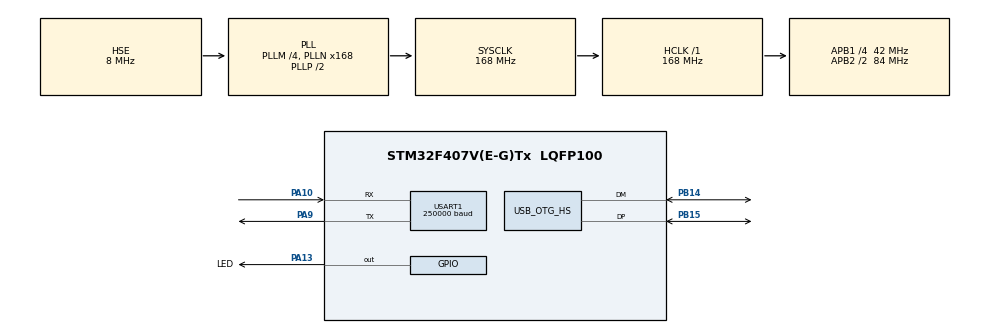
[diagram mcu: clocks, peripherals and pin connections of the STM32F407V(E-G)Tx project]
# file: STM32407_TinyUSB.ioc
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Mcu.Family=STM32F4
Mcu.Name=STM32F407V(E-G)Tx
Mcu.Package=LQFP100
NVIC.OTG_HS_IRQn=true\:0\:0\:false\:false\:true\:true\:true\:true
NVIC.PriorityGroup=NVIC_PRIORITYGROUP_0
PA10.Mode=Asynchronous
PA10.Signal=USART1_RX
PA13.GPIO_Label=LED
PA13.PinState=GPIO_PIN_RESET
PA13.Signal=GPIO_Output
PA9.Mode=Asynchronous
PA9.Signal=USART1_TX
PB14.Mode=Host_FS
PB14.Signal=USB_OTG_HS_DM
PB15.Mode=Host_FS
PB15.Signal=USB_OTG_HS_DP
PH0-OSC_IN.Mode=HSE-External-Oscillator
PH0-OSC_IN.Signal=RCC_OSC_IN
PH1-OSC_OUT.Mode=HSE-External-Oscillator
PH1-OSC_OUT.Signal=RCC_OSC_OUT
ProjectManager.HeapSize=0x200
ProjectManager.StackSize=0x400
ProjectManager.TargetToolchain=STM32CubeIDE
RCC.48MHZClocksFreq_Value=48000000
RCC.AHBFreq_Value=168000000
RCC.APB1CLKDivider=RCC_HCLK_DIV4
RCC.APB1Freq_Value=42000000
RCC.APB1TimFreq_Value=84000000
RCC.APB2CLKDivider=RCC_HCLK_DIV2
RCC.APB2Freq_Value=84000000
RCC.APB2TimFreq_Value=168000000
RCC.CortexFreq_Value=168000000
RCC.FLatency-AdvancedSettings=FLASH_LATENCY_5
RCC.HCLKFreq_Value=168000000
RCC.HSE_VALUE=8000000
RCC.HSI_VALUE=16000000
RCC.LSE_VALUE=32768
RCC.PLLM=4
RCC.PLLN=168
RCC.PLLQ=7
RCC.RCC_RTC_Clock_Source_FROM_HSE=RCC_RTCCLKSOURCE_HSE_DIV8
RCC.SYSCLKFreq_VALUE=168000000
RCC.SYSCLKSource=RCC_SYSCLKSOURCE_PLLCLK
RCC.USBFreq_Value=48000000
RCC.VCOOutputFreq_Value=336000000
USART1.BaudRate=250000
USART1.VirtualMode=VM_ASYNC
USB_OTG_HS.VirtualMode-Host_FS=Host_FS
USB_OTG_HS.dma_enable-Host_FS=ENABLE
VP_RTC_VS_RTC_Activate.Mode=RTC_Enabled
board=custom

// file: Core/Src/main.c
/* USER CODE BEGIN Header */
/**
  ******************************************************************************
  * @file           : main.c
  * @brief          : Main program body
  ******************************************************************************
  * @attention
  *
  * Copyright (c) 2026 STMicroelectronics.
  * All rights reserved.
  *
  * This software is licensed under terms that can be found in the LICENSE file
  * in the root directory of this software component.
  * If no LICENSE file comes with this software, it is provided AS-IS.
  *
  ******************************************************************************
  */

/***********************************************************************************************
* IRON 2026 smart USB bootloader for MKS Monster8 V1/V2 3D printer motherboard (STM32F407VET6) *
***********************************************************************************************/

/* USER CODE END Header */
#include "main.h"

/* USER CODE BEGIN Includes */

#include <stdarg.h>      // For uart_printf
#include <string.h>      // For memset
#include "tusb.h"        // TinyUSB
#include "ff.h"          // FAT File System
#include "diskio.h"      // FAT File System IO driver

/* USER CODE END Includes */

/* USER CODE BEGIN PD */

#define DEBUG_USART_HANDLE       huart1                               // The UART to send debug info to
#define VERBOSE_MODE                                                  // Comment out to disable sending info to USART (250K baud)
#define COMPARE_BEFORE_FLASH                                          // Comment out to not compare (faster)
#define FIRMWARE_FILENAME        "firmware.bin"                       // The firmware file to flash
#define FIRMWARE_RENAME          "firmware.cur"                       // Rename the firmware after flashing

// Make sure pins don't interfere with SWD debug pins PA13 and PA14, disable when debugging
#define PROGRESS_LED_PIN         GPIO_PIN_13                          // Progress LED pin
#define PROGRESS_LED_PORT        GPIOA                                // Progress LED flashes during flash update

#define DFU_ON_DOUBLE_RESET                                           // Double reset start DFU mode, uncomment to disable
#define DFU_MAGIC_KEY            0xBA55BA11                           // Magic key to jump to DFU mode
#define DFU_MAGIC_KEY_ADDRESS    RTC_BKP_DR19                         // Store the magic key at RTC backup register 19

#define FLASHWORD                4U                                   // 4 bytes on STM32F4
#define FILE_BUFFER_SIZE         4096UL                               // Must be divisible by FLASHWORD
#define FLASH_MAX_SECTOR         12U                                  // Max 12 sectors on STM32F4xx (0-11)
#define FLASH_BOOTLOADER_SIZE    0x0010000UL                          // Bootloader area size
#define FLASH_USER_START_SECTOR  4U                                   // Bootloader in sector 0-3 (4 x 16KB)
#define FLASH_USER_START_ADDR    (FLASH_BASE + FLASH_BOOTLOADER_SIZE) // Should start on a new sector

/* STM32 DFU bootloader addresses
   STM32C0   0x1FFF0000 | STM32F030x8 0x1FFFEC00 | STM32F030xC 0x1FFFD800 | STM32F03xx 0x1FFFEC00
   STM32F05  0x1FFFEC00 | STM32F07    0x1FFFC800 | STM32F09    0x1FFFD800 | STM32F10xx 0x1FFFF000
   STM32F105 0x1FFFB000 | STM32F107   0x1FFFB000 | STM32F10XL  0x1FFFE000 | STM32F2    0x1FFF0000
   STM32F3   0x1FFFD800 | STM32F4     0x1FFF0000 | STM32F7     0x1FF00000 | STM32G0    0x1FFF0000
   STM32G4   0x1FFF0000 | STM32H503   0x0BF87000 | STM32H563   0x0BF97000 | STM32H573  0x0BF97000
   STM32H7x  0x1FF09800 | STM32H7A    0x1FF0A800 | STM32H7B    0x1FF0A000 | STM32L0    0x1FF00000
   STM32L1   0x1FF00000 | STM32L4     0x1FFF0000 | STM32L5     0x0BF90000 | STM32WBA   0x0BF88000
   STM32WBX  0x1FFF0000 | STM32WL     0x1FFF0000 | STM32U5     0x0BF90000 */

#define DFU_BOOTLOADER_ADDRESS   0x1FFF0000U // STMF4xx address to jump to to activate DFU bootloader

/* ERROR CODES (FatFS errors 0-19)
 0 Succeeded
 1 A hard error occurred in the low level disk I/O layer
 2 Assertion failed
 3 The physical drive cannot work
 4 Could not find the file
 5 Could not find the path
 6 The path name format is invalid
 7 Access denied due to prohibited access or directory full
 8 Access denied due to prohibited access
 9 The file/directory object is invalid
10 The physical drive is write protected
11 The logical drive number is invalid
12 The volume has no work area
13 There is no valid FAT volume
14 The f_mkfs() aborted due to any problem
15 Could not get a grant to access the volume within defined period
16 The operation is rejected according to the file sharing policy
17 LFN working buffer could not be allocated
18 Number of open files > _FS_LOCK
19 Given parameter is invalid */

/* USER CODE END PD */

RTC_HandleTypeDef hrtc;

UART_HandleTypeDef huart1;

HCD_HandleTypeDef hhcd_USB_OTG_HS;

/* USER CODE BEGIN PV */

FATFS    FatFs;                        // FAT File System handle
FIL      fwFile;                       // File handle for the firmware file
FRESULT  result;                       // File operation result
uint32_t fileSize;                        // User application size in bytes
uint8_t  fileBuffer[FILE_BUFFER_SIZE]; // File read buffer
volatile bool USB_status = false;      // Check if USB disk is available
volatile bool _disk_busy = false;

// TinyUSB API implementation
uint32_t tusb_time_millis_api(void) {
  return HAL_GetTick();
}

// Calculate CRC32 of a block of data, actual CRC32 is the inverse of the returned value
#define CRC32_START 0xFFFFFFFF
uint32_t crc32b(uint32_t crc, uint8_t *data, uint32_t size)
{
    for (int i = 0; i < size; i++)
    {
        crc = crc ^ data[i];
        for (int j = 8; j; j--)
            crc = (crc >> 1) ^ (0xEDB88320 & -(crc & 1));
    }
    return ~crc;
}

#ifdef VERBOSE_MODE // No serial output if not in VERBOSE_MODE

// Super lightweight printf, prints to uart (DEBUG_USART_HANDLE), no floats
// Takes only about 700 bytes of program memory, printf takes 2.5K of flash space
void uart_printf(const char * fmt, ...)
{
    va_list va;
    va_start(va, fmt);
    char debug_msg[255]; // Message buffer
    char * buf = debug_msg;
    char c;
    unsigned int num;
    while ((c  = *(fmt++)))
    {
        if (c == '%')
        {
            int width = 0;
            int base = 2;
            int s_int = 0;
            char space_zero = ' ';
        MORE_FORMAT:
            c = *(fmt++); // Skip '%', check parameter
            switch (c)
            {
                case '0':
                    if (width == 0)
                        space_zero = '0';
                case '1'...'9': // Width indicators
                    width = (width * 10) + c - '0';
                goto MORE_FORMAT;

                case '%': // "%%" prints "%"
                    *(buf++) = '%';
                break;

                case 'c': // Character
                    *(buf++) = va_arg(va, int);
                break;

                case 'd': // Signed integer
                case 'i': base = 10;
                    s_int = va_arg(va, int);
                    if (s_int < 0)
                       num = -s_int;
                    else
                      num = s_int;
                  goto ATOI;
                case 'x':      // Hexadecimal, base 16
                    base += 6; // 2 + 6 + 8 is base 16
                case 'u':      // Unsigned integer, base 10
                    base += 8; // 2 + 8 is base 10
                case 'b':      // Binary, base 2
                    num = va_arg(va, unsigned int);
                  ATOI:
                    char tmp[32]; // 32bit
                    char *q = tmp;

                    do {
                        int rem = '0' + (num % base);
                        if (rem > '9')
                          rem += 7; // Map to 'ABCDEF'
                        *(q++) = rem;
                    } while ((num /= base));

                    if (s_int < 0)
                      *(q++) = '-';

                    width -= q - tmp;
                    while (width-- > 0)
                      *(buf++) = space_zero;

                   while (tmp < q) // Reverse data order, "123" --> "321"
                       *(buf++) = *(--q);
                break;

                case 's':  // String
                    const char *p = va_arg(va, const char *);
                    while (*p)
                        *(buf++) = *(p++);
            }
        }
        else
            *(buf++) = c; // Copy literal characters
    }
    *buf = '\0'; // Terminate string

    va_end(va);

    HAL_UART_Transmit(&DEBUG_USART_HANDLE, (uint8_t *)debug_msg, buf - debug_msg, HAL_MAX_DELAY);
    #ifdef PROGRESS_LED_PIN
        HAL_GPIO_TogglePin(PROGRESS_LED_PORT, PROGRESS_LED_PIN); // Flash LED
    #endif
}

#else

    #ifdef PROGRESS_LED_PIN
        void uart_printf(const char * fmt, ...) { HAL_GPIO_TogglePin(PROGRESS_LED_PORT, PROGRESS_LED_PIN); } // Flash LED
    #else
        void uart_printf(const char * fmt, ...) { }
    #endif

#endif

#ifdef DFU_ON_DOUBLE_RESET

    #if (DFU_MAGIC_KEY_ADDRESS < 0xFF)
          // Use RTC backup register
        void set_magic_key(int value) {
            HAL_PWR_EnableBkUpAccess();
            HAL_RTCEx_BKUPWrite(&hrtc, DFU_MAGIC_KEY_ADDRESS, value);
            HAL_PWR_DisableBkUpAccess();
        }
    #else
        // Use memory address
        #define set_magic_key(a) (*(__IO uint32_t *)DFU_MAGIC_KEY_ADDRESS = a)
    #endif

#else // No DFU on double reset

    #define set_magic_key(a)

#endif

// Return value: 0=equal, 1=different, 2=error
uint32_t compareFlashToFile(void)
{
    uint32_t i = 0, j;
    int result = f_lseek(&fwFile, 0); // Not strictly needed
    uint32_t file_crc32 = ~CRC32_START; // Invert here, will be undone in crc32b
    int difference_found = 0;
    int different = 0;
    unsigned int bytesRead;

    while ((i < fileSize) && !result)
    {
        result = f_read(&fwFile, fileBuffer, FILE_BUFFER_SIZE, &bytesRead);
        file_crc32 = crc32b(~file_crc32, fileBuffer, bytesRead);
        j = 0;
        while ((j < bytesRead) && !result)
        {
            if (*(__IO char*)(FLASH_USER_START_ADDR + i + j) != fileBuffer[j])
                difference_found = 1;
            j++;
        }
        if (difference_found)
        {
            uart_printf("*");
            different = 1;
            difference_found = 0; // Reset block different status
        }
        else
            uart_printf("=");

        i += bytesRead;
    }

    if (result)
    {
        uart_printf(" Error\r\nFile read error: %u\r\n", result);
        return 2;
    }
    else
    if (different)
        uart_printf(" Different\r\nFlash contents differs, update is required\r\n");
    else
    {
        uart_printf(" Equal\r\nFlash contents is the same, update is not required\r\n");
        uart_printf("Flash CRC32: 0x%x\r\n", file_crc32);
    }

    return different; // 0=equal, 1=different, 2=error
}

int CopyFileToFlashMemory(void)
{
/* STM32F4xx FLASH SECTORS
    Sector  0 0x0800 0000 - 0x0800 3FFF  16KB
    Sector  1 0x0800 4000 - 0x0800 7FFF  16KB
    Sector  2 0x0800 8000 - 0x0800 BFFF  16KB
    Sector  3 0x0800 C000 - 0x0800 FFFF  16KB
    Sector  4 0x0801 0000 - 0x0801 FFFF  64KB
    Sector  5 0x0802 0000 - 0x0803 FFFF 128KB
    Sector  6 0x0804 0000 - 0x0805 FFFF 128KB
    Sector  7 0x0804 0000 - 0x0807 FFFF 128KB
    // -- 512KB -----------------------------
    Sector  8 0x0804 0000 - 0x0809 FFFF 128KB
    Sector  9 0x0804 0000 - 0x080B FFFF 128KB
    Sector 10 0x0804 0000 - 0x080D FFFF 128KB
    Sector 11 0x080E 0000 - 0x080F FFFF 128KB */

    uint32_t flash_sector_size = 0x10000U;

    // Erase required sectors to fit the user application
    uint32_t erasedSize = 0;
    uint32_t sector = FLASH_USER_START_SECTOR;

    HAL_FLASH_Unlock();
    FRESULT result = f_lseek(&fwFile, 0);

    while ((erasedSize < fileSize) && !result)
    {
        uart_printf("Erasing flash sector %u  Sector size: %3uKB\r\n", sector, flash_sector_size >> 10);
        FLASH_Erase_Sector(sector, FLASH_VOLTAGE_RANGE_3);

        erasedSize += flash_sector_size;
        flash_sector_size = 0x20000; // The remaining sectors are 128KB
        sector++;
    }

    uart_printf("Flashing user application to 0x0%x\r\n", FLASH_USER_START_ADDR);
    uint32_t byteCounter = 0;
    uint32_t i;
    uint32_t file_crc32 = ~CRC32_START; // Invert here, will be undone in crc32b
    unsigned int bytesRead;

    while ((byteCounter < fileSize) && !result)
    {
        result = f_read(&fwFile, fileBuffer, FILE_BUFFER_SIZE, &bytesRead);
        file_crc32 = crc32b(~file_crc32, fileBuffer, bytesRead);

        if (bytesRead < FILE_BUFFER_SIZE) // Add some "erased flash" bytes to the buffer
            memset(fileBuffer + bytesRead, 0xFF, (FILE_BUFFER_SIZE - bytesRead) % FLASHWORD);

        // Write the data to flash memory
        i = 0;
        while ((i < bytesRead) && !result)
        {
            result = HAL_FLASH_Program(FLASH_TYPEPROGRAM_WORD, FLASH_USER_START_ADDR + byteCounter + i, *((volatile uint32_t*)(fileBuffer + i)));
            i += FLASHWORD;
        }
        byteCounter += bytesRead;
        uart_printf("=");
    }

    HAL_FLASH_Lock();

    if (!result) // All went OK, verify flash contents
    {
        uint32_t flash_crc32 = crc32b(CRC32_START, (uint8_t*)FLASH_USER_START_ADDR, fileSize);
        if (file_crc32 != flash_crc32)
        {
            uart_printf("* Verify failed\r\n");
            result = 1; // Signal error
        }
        else
            uart_printf(" Verify OK\r\n");

        uart_printf("Flash CRC32: 0x%x\r\n", flash_crc32);
    }
    else
        uart_printf(" Failed: %u\r\n", result);

    return result;
}

/* USER CODE END PV */

void SystemClock_Config(void);
static void MX_GPIO_Init(void);
static void MX_USART1_UART_Init(void);
static void MX_USB_OTG_HS_HCD_Init(void);
static void MX_RTC_Init(void);

/* USER CODE BEGIN 0 */

//--- TINY USB IMPLEMENTATION -------------//

bool inquiry_complete_cb(uint8_t dev_addr, tuh_msc_complete_data_t const * cb_data)
{
  msc_csw_t const* csw = cb_data->csw;

  if (csw->status != 0)
  {
    uart_printf("Inquiry failed\r\n");
    return false;
  }
  return true;
}

void tuh_msc_mount_cb(uint8_t dev_addr)
{
    USB_status = true; // Flag to main while loop to try to mount disk
}

void tuh_msc_umount_cb(uint8_t dev_addr)
{
}

//-------------------------------------+
// FatFS DiskIO driver
//-------------------------------------+
static void wait_for_disk_io(BYTE pdrv)
{
  while(_disk_busy)
    tuh_task();
}

static bool disk_io_complete(uint8_t dev_addr, tuh_msc_complete_data_t const * cb_data)
{
  (void) dev_addr; (void) cb_data;
  _disk_busy = false;
  return true;
}

DSTATUS disk_status(BYTE pdrv) // Physical drive number to identify the drive, should be 0
{
  uint8_t dev_addr = pdrv + 1;
  return tuh_msc_mounted(dev_addr) ? 0 : STA_NODISK;
}

DSTATUS disk_initialize(BYTE pdrv) // Physical drive number to identify the drive
{
  (void) pdrv;
  return 0; // nothing to do
}

DRESULT disk_read(
    BYTE pdrv,        // Physical drive number to identify the drive
    BYTE *buff,        // Data buffer to store read data
    LBA_t sector,    // Start sector in LBA
    UINT count)        // Number of sectors to read
{
    uint8_t const dev_addr = pdrv + 1;
    uint8_t const lun = 0;

    _disk_busy = true;
    tuh_msc_read10(dev_addr, lun, buff, sector, (uint16_t) count, disk_io_complete, 0);
    wait_for_disk_io(pdrv);

    return RES_OK;
}

#if FF_FS_READONLY == 0

DRESULT disk_write(
    BYTE pdrv,           // Physical drive number to identify the drive
    const BYTE *buff,  // Data to be written
    LBA_t sector,       // Start sector in LBA
    UINT count)           // Number of sectors to write
{
    uint8_t const dev_addr = pdrv + 1;
    uint8_t const lun = 0;

    _disk_busy = true;
    tuh_msc_write10(dev_addr, lun, buff, sector, (uint16_t) count, disk_io_complete, 0);
    wait_for_disk_io(pdrv);

    return RES_OK;
}

#endif

DRESULT disk_ioctl(
    BYTE pdrv,        // Physical drive number (0..)
    BYTE cmd,        // Control code
    void *buff)        // Buffer to send/receive control data
{
  uint8_t const dev_addr = pdrv + 1;
  uint8_t const lun = 0;
  switch ( cmd )
  {
    case CTRL_SYNC:
      // nothing to do since we do blocking
      return RES_OK;

    case GET_SECTOR_COUNT:
      *((DWORD*) buff) = (WORD) tuh_msc_get_block_count(dev_addr, lun);
      return RES_OK;

    case GET_SECTOR_SIZE:
      *((WORD*) buff) = (WORD) tuh_msc_get_block_size(dev_addr, lun);
      return RES_OK;

    case GET_BLOCK_SIZE:
      *((DWORD*) buff) = 1; // erase block size in units of sector size
      return RES_OK;

    default:
      return RES_PARERR;
  }

    return RES_OK;
}

/* USER CODE END 0 */

int main(void)
{

  /* MCU Configuration--------------------------------------------------------*/

  /* Reset of all peripherals, Initializes the Flash interface and the Systick. */
  HAL_Init();

  /* Configure the system clock */
  SystemClock_Config();

  /* Initialize all configured peripherals */
  MX_GPIO_Init();
  MX_USART1_UART_Init();
  MX_USB_OTG_HS_HCD_Init();
  MX_RTC_Init();
  /* USER CODE BEGIN 2 */

  // Enable all the GPIO clocks for the configurable pin below
  SET_BIT(RCC->AHB1ENR, RCC_AHB1ENR_GPIOAEN | RCC_AHB1ENR_GPIOBEN | RCC_AHB1ENR_GPIOCEN | RCC_AHB1ENR_GPIODEN | RCC_AHB1ENR_GPIOEEN);

  // Disable VBUS sensing for Full-Speed Device (TYPE-C Connector, Pin A11/12
  // USB_OTG_FS->GCCFG &= ~USB_OTG_GCCFG_VBUSASEN;   // VBUS SENSING DEVICE A (default)
  // USB_OTG_FS->GCCFG &= ~USB_OTG_GCCFG_VBUSBSEN;   // VBUS SENSING DEVICE B (default)
  // USB_OTG_FS->GCCFG |=  USB_OTG_GCCFG_NOVBUSSENS; // VBUS sensing disabled

  // Disable VBUS sensing for High-Speed Device (TYPE-A Connector, Pin B14/15
  // USB_OTG_HS->GCCFG &= ~USB_OTG_GCCFG_VBUSASEN; // VBUS SENSING DEVICE A (default)
  // USB_OTG_HS->GCCFG &= ~USB_OTG_GCCFG_VBUSBSEN; // VBUS SENSING DEVICE B (default)
  USB_OTG_HS->GCCFG |=  USB_OTG_GCCFG_NOVBUSSENS;  // VBUS sensing disabled

  tusb_rhport_init_t dev_init = { .role = TUSB_ROLE_HOST, .speed = TUSB_SPEED_AUTO };
  tusb_init(BOARD_TUH_RHPORT, &dev_init); // 1 = TYPE-A / 0 - TYPE-C CONNECTOR

#ifdef DFU_ON_DOUBLE_RESET

#if (DFU_MAGIC_KEY_ADDRESS < 0xFF)
    if (HAL_RTCEx_BKUPRead(&hrtc, DFU_MAGIC_KEY_ADDRESS) == DFU_MAGIC_KEY) // Detect memory marker
#else
    if (*(__IO uint32_t*)DFU_MAGIC_KEY_ADDRESS == DFU_MAGIC_KEY) // Detect marker in RTC backup register
#endif
    {
        set_magic_key(0);
        MX_GPIO_Init();
        MX_USART1_UART_Init();
        uart_printf("\r\nStarting DFU mode\r\n");
        HAL_Delay(25);

        __disable_irq(); // Disable all interrupts
        HAL_SuspendTick(); // Suspend tick interrupt
        SysTick->CTRL = SysTick->LOAD = SysTick->VAL = 0;
        RCC->CIR = 0;     // Disable clock interrupts
        HAL_RCC_DeInit(); // Set the clock to the default state
        HAL_DeInit();
        // Clear Interrupt Enable Register & Interrupt Pending Register
        uint8_t cnt = (sizeof(NVIC->ICER) / sizeof(*NVIC->ICER));
        for (int i = 0; i < cnt; i++) {
            NVIC->ICER[i] = 0xFFFFFFFF;
            NVIC->ICPR[i] = 0xFFFFFFFF;
        }
        __enable_irq();

        uint32_t *vtor = (void*)DFU_BOOTLOADER_ADDRESS;
        SCB->VTOR = (uint32_t)vtor;

        // Make the jump
        asm volatile("MSR msp,%0\nbx %1" : : "r"(vtor[0]), "r"(vtor[1]));
    }

    set_magic_key(DFU_MAGIC_KEY);

    // Wait for 2nd reset while DFU marker is set
    HAL_Delay(500);

    set_magic_key(0);

#endif

  /* USER CODE END 2 */

  /* Infinite loop */
  /* USER CODE BEGIN WHILE */

  uart_printf("\r\nUSB bootloader started\r\n");

  #ifdef PROGRESS_LED_PIN
      GPIO_InitTypeDef GPIO_InitStruct = { 0 };
      GPIO_InitStruct.Pin = PROGRESS_LED_PIN;
      GPIO_InitStruct.Mode = GPIO_MODE_OUTPUT_PP;
      GPIO_InitStruct.Pull = GPIO_NOPULL;
      GPIO_InitStruct.Speed = GPIO_SPEED_FREQ_LOW;
      HAL_GPIO_Init(PROGRESS_LED_PORT, &GPIO_InitStruct);
  #endif

  while (1)
  {
    /* USER CODE END WHILE */

    /* USER CODE BEGIN 3 */

    tuh_task(); // TINYUSB TASK

    // Timeout counter
    if (HAL_GetTick() > 2500) // Requires about 1200-2200ms
        goto USER_APP;

    if (USB_status) // Wait for flag
    {
        // Mount the FAT file system
        result = f_mount(&FatFs, "", 1);
        if (result)
        {
            if (result == 3)
                uart_printf("No medium mounted, status: 3\r\n");
            else
                uart_printf("ERROR: USB mounting failed, not FAT/exFAT formatted? Error: %u\r\n", result);

            goto USER_APP;
        }

        uart_printf("TIME: %u\r\n", HAL_GetTick());

        uart_printf(FIRMWARE_FILENAME);
        if (f_open(&fwFile, FIRMWARE_FILENAME, FA_READ))
        {
            uart_printf(" not found\r\n");
            goto USER_APP;
        }
        uart_printf(" opened successfully\r\n");

        fileSize = f_size(&fwFile);

        // Get device flash size from memory (in KBytes)
        __IO uint16_t flashSize = *(uint32_t*)(FLASHSIZE_BASE);
        uart_printf("Total flash memory size: %uKB\r\n", flashSize);

        uint32_t freeFlash = (flashSize << 10) - FLASH_BOOTLOADER_SIZE;
        uart_printf("Free flash memory space: %uKB\r\n", freeFlash >> 10);

        uart_printf("Firmware update size: %uKB\r\n", fileSize >> 10);

        if (fileSize > freeFlash)
        {
            uart_printf("ERROR: Insufficient free flash memory space, aborting\r\n");
            f_close(&fwFile); // Not strictly needed, comment out to save some flash space
            goto USER_APP;
        }

        #ifdef COMPARE_BEFORE_FLASH

        uart_printf("Comparing file to flash memory contents\r\n");

            result = compareFlashToFile();
            if (result > 1) // File read error
                goto USER_APP;

            if (result == 1) // Flash is different, update required
                result = CopyFileToFlashMemory();

        #else

            result = CopyFileToFlashMemory();

        #endif

        f_close(&fwFile); // Must close file before renaming

        #ifdef FIRMWARE_RENAME
            if (!result) // Only rename/delete if file was flashed successfully
            {
                f_unlink(FIRMWARE_RENAME); // Delete the old firmware (if present)

                if (f_rename(FIRMWARE_FILENAME, FIRMWARE_RENAME) != FR_OK)
                {
                    uart_printf("ERROR: Failed to rename firmware file to ");
                    result = 1; // Signal error
                }
                else
                    uart_printf("Renaming file to ");

                uart_printf(FIRMWARE_RENAME "\r\n");
            }

        #endif

USER_APP:

        set_magic_key(0); // IMPORTANT, KEEP HERE

        f_unmount(""); // Unmount USB, not strictly needed, comment out to save some flash space

        if (*(__IO uint32_t*)FLASH_USER_START_ADDR != 0xFFFFFFFF) // Check if flash is empty
        {
            uart_printf("Starting user application at 0x0%x\r\n", FLASH_USER_START_ADDR);
            HAL_Delay(25);

            __disable_irq(); // Disable all interrupts
            HAL_SuspendTick(); // Suspend tick interrupt
            SysTick->CTRL = SysTick->LOAD = SysTick->VAL = 0;
            RCC->CIR = 0;     // Disable clock interrupts
            HAL_RCC_DeInit(); // Set the clock to the default state
            HAL_DeInit();
            // Clear Interrupt Enable Register & Interrupt Pending Register
            uint8_t cnt = (sizeof(NVIC->ICER) / sizeof(*NVIC->ICER));
            for (int i = 0; i < cnt; i++) {
                NVIC->ICER[i] = 0xFFFFFFFF;
                NVIC->ICPR[i] = 0xFFFFFFFF;
            }
            __enable_irq();

            uint32_t *vtor = (void*)FLASH_USER_START_ADDR;
            SCB->VTOR = (uint32_t)vtor;

            // Make the jump
            asm volatile("MSR msp,%0\nbx %1" : : "r"(vtor[0]), "r"(vtor[1]));
        }

        uart_printf("No user application found at 0x0%x, done!\r\n", FLASH_USER_START_ADDR);

        while (1)
        { // Start slow LED flash
            #ifdef PROGRESS_LED_PIN
                HAL_GPIO_TogglePin(PROGRESS_LED_PORT, PROGRESS_LED_PIN);
                HAL_Delay(1500);
            #endif
        };
    }

  }

  /* USER CODE END 3 */
}

void SystemClock_Config(void)
{
  RCC_OscInitTypeDef RCC_OscInitStruct = {0};
  RCC_ClkInitTypeDef RCC_ClkInitStruct = {0};

  /** Configure the main internal regulator output voltage
  */
  __HAL_RCC_PWR_CLK_ENABLE();
  __HAL_PWR_VOLTAGESCALING_CONFIG(PWR_REGULATOR_VOLTAGE_SCALE1);

  /** Initializes the RCC Oscillators according to the specified parameters
  * in the RCC_OscInitTypeDef structure.
  */
  RCC_OscInitStruct.OscillatorType = RCC_OSCILLATORTYPE_LSI|RCC_OSCILLATORTYPE_HSE;
  RCC_OscInitStruct.HSEState = RCC_HSE_ON;
  RCC_OscInitStruct.LSIState = RCC_LSI_ON;
  RCC_OscInitStruct.PLL.PLLState = RCC_PLL_ON;
  RCC_OscInitStruct.PLL.PLLSource = RCC_PLLSOURCE_HSE;
  RCC_OscInitStruct.PLL.PLLM = 4;
  RCC_OscInitStruct.PLL.PLLN = 168;
  RCC_OscInitStruct.PLL.PLLP = RCC_PLLP_DIV2;
  RCC_OscInitStruct.PLL.PLLQ = 7;
  if (HAL_RCC_OscConfig(&RCC_OscInitStruct) != HAL_OK)
  {
    Error_Handler();
  }

  /** Initializes the CPU, AHB and APB buses clocks
  */
  RCC_ClkInitStruct.ClockType = RCC_CLOCKTYPE_HCLK|RCC_CLOCKTYPE_SYSCLK
                              |RCC_CLOCKTYPE_PCLK1|RCC_CLOCKTYPE_PCLK2;
  RCC_ClkInitStruct.SYSCLKSource = RCC_SYSCLKSOURCE_PLLCLK;
  RCC_ClkInitStruct.AHBCLKDivider = RCC_SYSCLK_DIV1;
  RCC_ClkInitStruct.APB1CLKDivider = RCC_HCLK_DIV4;
  RCC_ClkInitStruct.APB2CLKDivider = RCC_HCLK_DIV2;

  if (HAL_RCC_ClockConfig(&RCC_ClkInitStruct, FLASH_LATENCY_5) != HAL_OK)
  {
    Error_Handler();
  }
}

static void MX_RTC_Init(void)
{

  /** Initialize RTC Only
  */
  hrtc.Instance = RTC;
  hrtc.Init.HourFormat = RTC_HOURFORMAT_24;
  hrtc.Init.AsynchPrediv = 127;
  hrtc.Init.SynchPrediv = 255;
  hrtc.Init.OutPut = RTC_OUTPUT_DISABLE;
  hrtc.Init.OutPutPolarity = RTC_OUTPUT_POLARITY_HIGH;
  hrtc.Init.OutPutType = RTC_OUTPUT_TYPE_OPENDRAIN;
  if (HAL_RTC_Init(&hrtc) != HAL_OK)
  {
    Error_Handler();
  }

}

static void MX_USART1_UART_Init(void)
{

  huart1.Instance = USART1;
  huart1.Init.BaudRate = 250000;
  huart1.Init.WordLength = UART_WORDLENGTH_8B;
  huart1.Init.StopBits = UART_STOPBITS_1;
  huart1.Init.Parity = UART_PARITY_NONE;
  huart1.Init.Mode = UART_MODE_TX_RX;
  huart1.Init.HwFlowCtl = UART_HWCONTROL_NONE;
  huart1.Init.OverSampling = UART_OVERSAMPLING_16;
  if (HAL_UART_Init(&huart1) != HAL_OK)
  {
    Error_Handler();
  }

}

static void MX_USB_OTG_HS_HCD_Init(void)
{

  hhcd_USB_OTG_HS.Instance = USB_OTG_HS;
  hhcd_USB_OTG_HS.Init.Host_channels = 12;
  hhcd_USB_OTG_HS.Init.speed = HCD_SPEED_FULL;
  hhcd_USB_OTG_HS.Init.dma_enable = ENABLE;
  hhcd_USB_OTG_HS.Init.phy_itface = USB_OTG_EMBEDDED_PHY;
  hhcd_USB_OTG_HS.Init.Sof_enable = DISABLE;
  hhcd_USB_OTG_HS.Init.low_power_enable = DISABLE;
  hhcd_USB_OTG_HS.Init.vbus_sensing_enable = DISABLE;
  hhcd_USB_OTG_HS.Init.use_external_vbus = DISABLE;
  if (HAL_HCD_Init(&hhcd_USB_OTG_HS) != HAL_OK)
  {
    Error_Handler();
  }

}

static void MX_GPIO_Init(void)
{
  GPIO_InitTypeDef GPIO_InitStruct = {0};

  /* GPIO Ports Clock Enable */
  __HAL_RCC_GPIOH_CLK_ENABLE();
  __HAL_RCC_GPIOB_CLK_ENABLE();
  __HAL_RCC_GPIOA_CLK_ENABLE();

  /*Configure GPIO pin Output Level */
  HAL_GPIO_WritePin(LED_GPIO_Port, LED_Pin, GPIO_PIN_RESET);

  /*Configure GPIO pin : LED_Pin */
  GPIO_InitStruct.Pin = LED_Pin;
  GPIO_InitStruct.Mode = GPIO_MODE_OUTPUT_PP;
  GPIO_InitStruct.Pull = GPIO_NOPULL;
  GPIO_InitStruct.Speed = GPIO_SPEED_FREQ_LOW;
  HAL_GPIO_Init(LED_GPIO_Port, &GPIO_InitStruct);

}

void Error_Handler(void)
{
  /* USER CODE BEGIN Error_Handler_Debug */
  /* User can add his own implementation to report the HAL error return state */

  uart_printf("Error handler called!!!\r\n"); // Not strictly required
  HAL_Delay(100);

  __disable_irq();
  while (1)
  {
  }
  /* USER CODE END Error_Handler_Debug */
}
